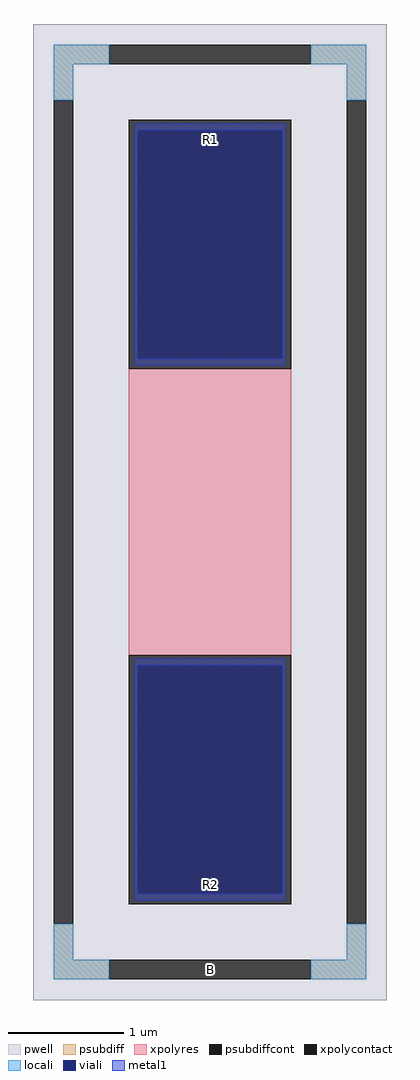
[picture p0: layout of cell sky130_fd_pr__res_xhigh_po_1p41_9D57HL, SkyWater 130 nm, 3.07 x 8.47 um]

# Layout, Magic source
magic
tech sky130A
magscale 1 2
<< pwell >>
rect -307 -847 307 847
<< psubdiff >>
rect -271 777 -175 811
rect 175 777 271 811
rect -271 715 -237 777
rect 237 715 271 777
rect -271 -777 -237 -715
rect 237 -777 271 -715
rect -271 -811 -175 -777
rect 175 -811 271 -777
<< psubdiffcont >>
rect -175 777 175 811
rect -271 -715 -237 715
rect 237 -715 271 715
rect -175 -811 175 -777
<< xpolycontact >>
rect -141 249 141 681
rect -141 -681 141 -249
<< xpolyres >>
rect -141 -249 141 249
<< locali >>
rect -271 777 -175 811
rect 175 777 271 811
rect -271 715 -237 777
rect 237 715 271 777
rect -271 -777 -237 -715
rect 237 -777 271 -715
rect -271 -811 -175 -777
rect 175 -811 271 -777
<< viali >>
rect -125 266 125 663
rect -125 -663 125 -266
<< metal1 >>
rect -131 663 131 675
rect -131 266 -125 663
rect 125 266 131 663
rect -131 254 131 266
rect -131 -266 131 -254
rect -131 -663 -125 -266
rect 125 -663 131 -266
rect -131 -675 131 -663
<< labels >>
rlabel psubdiffcont 0 -794 0 -794 0 B
port 1 nsew
rlabel xpolycontact 0 646 0 646 0 R1
port 2 nsew
rlabel xpolycontact 0 -646 0 -646 0 R2
port 3 nsew
<< properties >>
string FIXED_BBOX -254 -794 254 794
string gencell sky130_fd_pr__res_xhigh_po_1p41
string library sky130
string parameters w 1.410 l 2.65 m 1 nx 1 wmin 1.410 lmin 0.50 class resistor rho 2000 val 4.025k dummy 0 dw 0.0 term 188.2 sterm 0.0 caplen 0 wmax 1.410 guard 1 glc 1 grc 1 gtc 1 gbc 1 compatible {sky130_fd_pr__res_xhigh_po_0p35  sky130_fd_pr__res_xhigh_po_0p69 sky130_fd_pr__res_xhigh_po_1p41  sky130_fd_pr__res_xhigh_po_2p85 sky130_fd_pr__res_xhigh_po_5p73} snake 0 full_metal 1 n_guard 0 hv_guard 0 vias 1 viagb 0 viagt 0 viagl 0 viagr 0 doports 1
<< end >>
